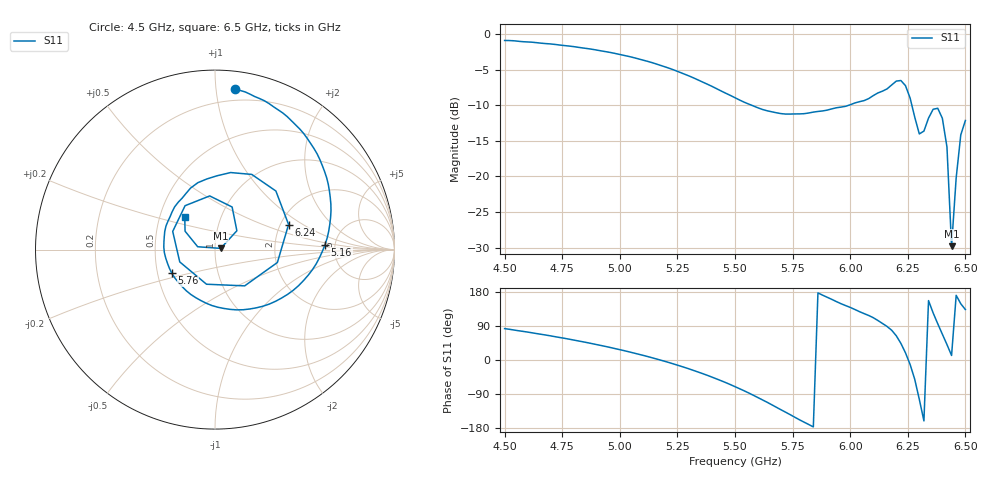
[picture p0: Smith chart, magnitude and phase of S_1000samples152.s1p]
! TOUCHSTONE file generated by CST MICROWAVE STUDIO
! Date and time: Thu Oct 27 04:23:33 2022
! Project name: L.cst
! Parameters = {Di=1.27; Epsilon_r=1.56; InnerDiameter=1.27; Length=2; Lf=10; Lg=60; OuterConductorThickness=0.2921; OuterDiameter=3.6; Wf=3; Wp=41.2; de=1.5; df=6.8; g=0.8; gx=3.83713; gy=2.82811; h=2.34; hf=1.524; px=14.1539; py=13.5659; w=9.7; wx=10.3168; wy=10.7378}
! Header version: 2018
! Port assignment regex: !\s*Touchstone port\s*([0-9]+)\s*=\s*(CST MWS port|CST DS port)\s*([0-9]+|Zmin|Zmax)\s*\(\"(.*)\"\)(\s*mode\s*([0-9]+))?.*
! Touchstone port assignment:
! Touchstone port 1 = CST MWS port 1 ("")
# GHz S DB R 50
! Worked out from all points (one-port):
!   101 points, 4.5 GHz to 6.5 GHz, reference 50 ohm
!   lowest |S11| = -29.8 dB at 6.44 GHz (marker M1), VSWR 1.07, Z = 53.3 + j0.719 ohm
!   |S11| at or under -10 dB: 5.571 GHz to 5.995 GHz (424.1 MHz wide, 7.33 % of centre); 6.268 GHz to end of sweep
!   S11 on the Smith chart (normalised r, x): 4.5 GHz: 0.12, +1.13; 5.16 GHz: 4.14, +0.36; 5.76 GHz: 0.59, -0.17; 6.24 GHz: 2.21, +0.76; 6.5 GHz: 0.67, +0.26
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4.5  -0.92 82.8
4.76  -1.64 57.2
5  -2.89 27.3
5.16  -4.24 2.6
5.26  -5.38 -15.5
5.38  -7.06 -40.5
5.5  -8.96 -70.4
5.62  -10.62 -105.5
5.76  -11.23 -151.2
5.86  -10.88 177.1
6  -9.95 138.8
6.1  -8.66 111.7
6.18  -7.17 78.5
6.22  -6.54 43.9
6.24  -7.27 18.8
6.26  -9.00 -11.7
6.28  -11.67 -50.7
6.3  -14.04 -103.8
6.32  -13.64 -160.7
6.34  -11.82 156.7
6.36  -10.57 124.3
6.38  -10.44 95.6
6.4  -11.84 68.1
6.42  -15.87 40.8
6.44  -29.79 12.0
6.46  -20.20 170.6
6.48  -14.17 148.4
6.5  -12.15 133.1
